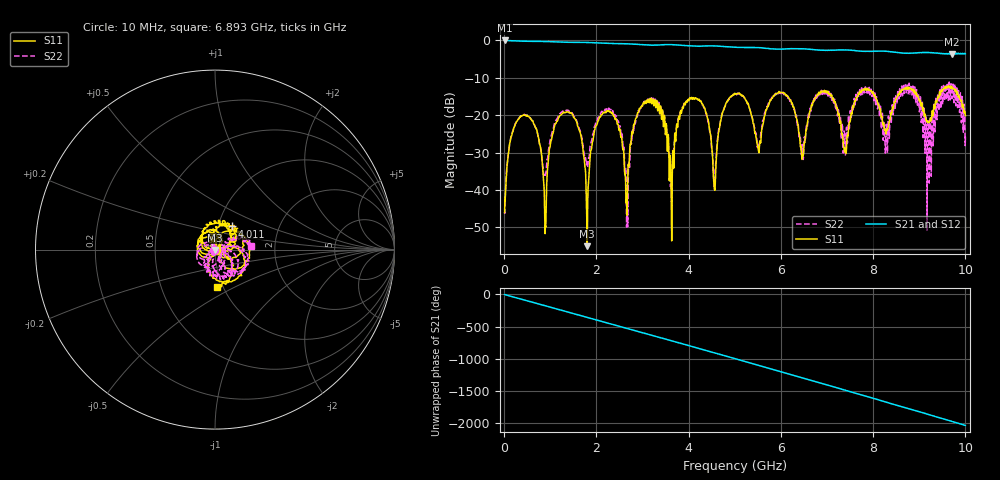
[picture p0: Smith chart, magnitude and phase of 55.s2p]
!Keysight Technologies,E5080B,MY59205177,A.15.75.32
!Date: Friday, February 23, 2024 03:30:54
!Correction: S11(Cdelta 2-Port  )
!S21(Cdelta 2-Port  )
!S12(Cdelta 2-Port  )
!S22(Cdelta 2-Port  )
!S2P File: Measurements: S11, S21, S12, S22:
# Hz S  dB  R 50
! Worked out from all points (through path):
!   10001 points, 10 MHz to 10 GHz, reference 50 ohm
!   highest |S21| = -0.02 dB at 10 MHz (marker M1); lowest = -3.7 dB at 9.701 GHz (marker M2)
!   group delay of S21, straight-line fit = 565 ps
!   lowest |S11| = -55.0 dB at 1.801 GHz (marker M3), VSWR 1.00, Z = 50.1 - j0.17 ohm
!   |S11| at or under -10 dB: start of sweep to end of sweep
!   |S22| runs from -50.8 to -11.2 dB; largest |S21 - S12| = 0.0016
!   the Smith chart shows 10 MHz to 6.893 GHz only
!   S11 on the Smith chart (normalised r, x): 10 MHz: 1.01, -0.00; 4.011 GHz: 1.17, +0.31; 6.893 GHz: 0.94, -0.41
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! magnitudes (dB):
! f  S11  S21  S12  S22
! 10 MHz  -46.1  0.0  0.0  -46.0
! 373.6 MHz  -20.2  -0.2  -0.2  -20.1
! 888.1 MHz  -50.9  -0.3  -0.3  -36.3
! 1.18 GHz  -20.7  -0.4  -0.4  -20.1
! 1.675 GHz  -26.0  -0.5  -0.5  -25.5
! 1.801 GHz  -55.0  -0.6  -0.6  -32.7
! 2.11 GHz  -19.9  -0.7  -0.7  -19.0
! 2.662 GHz  -46.4  -0.9  -0.9  -44.0
! 2.906 GHz  -19.3  -1.1  -1.1  -18.9
! 3.341 GHz  -17.5  -1.2  -1.2  -17.7
! 3.626 GHz  -45.1  -1.1  -1.1  -41.3
! 4.011 GHz  -15.9  -1.5  -1.5  -15.7
! 4.561 GHz  -39.7  -1.5  -1.5  -38.7
! 5.005 GHz  -14.2  -1.8  -1.8  -14.5
! 5.517 GHz  -29.8  -1.9  -1.9  -28.7
! 6.67 GHz  -17.3  -2.4  -2.4  -16.9
! 6.893 GHz  -13.6  -2.6  -2.6  -14.2
! 7.384 GHz  -29.7  -2.6  -2.6  -25.8
! 7.796 GHz  -13.1  -2.9  -2.9  -12.9
! 8.336 GHz  -22.7  -3.0  -3.0  -20.8
! 9.701 GHz  -12.2  -3.7  -3.7  -13.8
! 10 GHz  -20.1  -3.6  -3.6  -25.7
